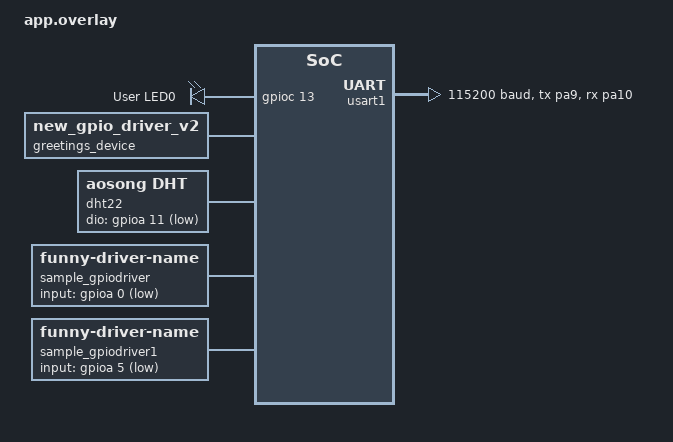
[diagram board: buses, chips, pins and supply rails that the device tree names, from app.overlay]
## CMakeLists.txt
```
cmake_minimum_required(VERSION 3.20.0)

set(BOARD_ROOT ${CMAKE_CURRENT_LIST_DIR}/../../)
set(BOARD blue_pill)

list(APPEND EXTRA_ZEPHYR_MODULES
    ${CMAKE_CURRENT_SOURCE_DIR}/../../drivers
    )

list(APPEND SYSCALL_INCLUDE_DIRS
    ${CMAKE_CURRENT_SOURCE_DIR}/../../drivers
    )
    
find_package(Zephyr REQUIRED HINTS $ENV{ZEPHYR_BASE})
project(led_blink)

target_sources(app PRIVATE src/main.c)
```

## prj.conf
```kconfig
CONFIG_APPLICATION_DEFINED_SYSCALL=y
# CONFIG_GREETINGS_DRIVER=y
# CONFIG_SAMPLE_GPIO_DRIVER=y


CONFIG_SENSOR1=y
# CONFIG_GPIO=y

# Need float format support
# CONFIG_NEWLIB_LIBC=y
# CONFIG_NEWLIB_LIBC_FLOAT_PRINTF=y
# CONFIG_CBPRINTF_FP_SUPPORT=y
```

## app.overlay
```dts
/ {
    leds {
        compatible = "gpio-leds";

        green_led_1: led {
            gpios = <&gpioc 13 GPIO_ACTIVE_HIGH>;
            label = "User LED0";
        };
    };

    aliases {
        led0 = &green_led_1;
    };

    greetings_device: greetings_device {
        compatible = "zephyr,new_gpio_driver_v2";
        status = "okay";
    };

    dht22 {
		compatible = "aosong,dht";
		status = "okay";
		dio-gpios = <&gpioa 11 (GPIO_PULL_UP | GPIO_ACTIVE_LOW)>;
		dht22;
	};

    sample_gpiodriver: sample_gpiodriver {
        compatible = "zephyr,funny-driver-name";
        input-gpios = <&gpioa 0 GPIO_ACTIVE_LOW>;
        status = "okay";
    };
     sample_gpiodriver1: sample_gpiodriver1 {
        compatible = "zephyr,funny-driver-name";
        input-gpios = <&gpioa 5 GPIO_ACTIVE_LOW>;
        status = "okay";
    };

};
&usart1 {
        pinctrl-0 = <&usart1_tx_pa9 &usart1_rx_pa10>;
        pinctrl-names = "default";
        current-speed = <115200>;
        status = "okay";
    };

&gpioc {
    status = "okay";
};
&gpioa {
    status = "okay";
};
```

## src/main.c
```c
/*
 * Copyright (c) 2019 Nordic Semiconductor ASA
 *
 * SPDX-License-Identifier: Apache-2.0
 */

#include <zephyr/kernel.h>
#include <zephyr/device.h>
#include <zephyr/drivers/sensor.h>
#include "dht_driver.h"
#include <stdio.h>

static const char *now_str(void)
{
	static char buf[16]; /* ...HH:MM:SS.MMM */
	uint32_t now = k_uptime_get_32();
	unsigned int ms = now % MSEC_PER_SEC;
	unsigned int s;
	unsigned int min;
	unsigned int h;

	now /= MSEC_PER_SEC;
	s = now % 60U;
	now /= 60U;
	min = now % 60U;
	now /= 60U;
	h = now;

	snprintf(buf, sizeof(buf), "%u:%02u:%02u.%03u",
		 h, min, s, ms);
	return buf;
}

int main(void)
{
	const struct device *const dht22 = DEVICE_DT_GET_ONE(aosong_dht);

	if (!device_is_ready(dht22)) {
		printf("Device %s is not ready\n", dht22->name);
		return 0;
	}

	while (true) {
		int rc = sensor_sample_fetch(dht22);

		if (rc != 0) {
			printf("Sensor fetch failed: %d\n", rc);
			break;
		}

		struct sensor_value temperature;
		struct sensor_value humidity;

		rc = sensor_channel_get(dht22, SENSOR_CHAN_AMBIENT_TEMP,
					&temperature);
		if (rc == 0) {
			rc = sensor_channel_get(dht22, SENSOR_CHAN_HUMIDITY,
						&humidity);
		}
		if (rc != 0) {
			printf("get failed: %d\n", rc);
			break;
		}

		printf("[%s]: %.1f Cel ; %.1f %%RH\n",
		       now_str(),
		       sensor_value_to_double(&temperature),
		       sensor_value_to_double(&humidity));
		k_sleep(K_SECONDS(2));
	}
	return 0;
}
```
